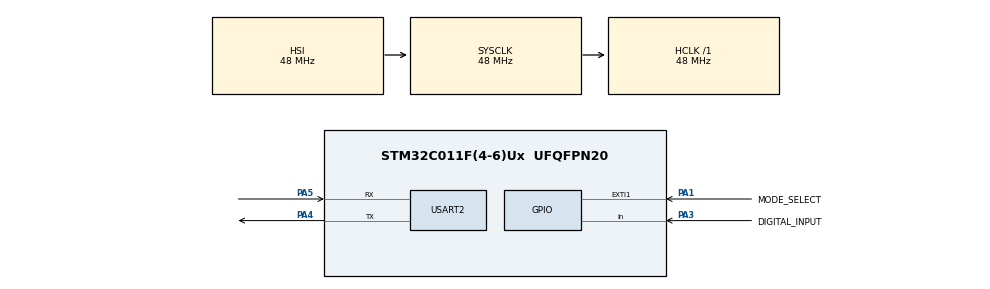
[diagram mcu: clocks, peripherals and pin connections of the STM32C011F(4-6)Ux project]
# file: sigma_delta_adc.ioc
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Mcu.Family=STM32C0
Mcu.Name=STM32C011F(4-6)Ux
Mcu.Package=UFQFPN20
NVIC.EXTI0_1_IRQn=true\:0\:0\:false\:false\:true\:true\:true\:true
NVIC.TIM17_IRQn=true\:0\:0\:false\:false\:true\:true\:true\:true
PA1.GPIO_Label=MODE_SELECT
PA1.GPIO_ModeDefaultEXTI=GPIO_MODE_IT_RISING_FALLING
PA1.GPIO_PuPd=GPIO_PULLDOWN
PA1.Signal=GPXTI1
PA13.Mode=Serial_Wire
PA13.Signal=DEBUG_SWDIO
PA14-BOOT0.Mode=Serial_Wire
PA14-BOOT0.Signal=DEBUG_SWCLK
PA3.GPIO_Label=DIGITAL_INPUT
PA3.Signal=GPIO_Input
PA4.Mode=Asynchronous
PA4.Signal=USART2_TX
PA5.Mode=Asynchronous
PA5.Signal=USART2_RX
ProjectManager.HeapSize=0x200
ProjectManager.StackSize=0x400
ProjectManager.TargetToolchain=STM32CubeIDE
RCC.ADCFreq_Value=48000000
RCC.AHBFreq_Value=48000000
RCC.CortexFreq_Value=48000000
RCC.EXTERNAL_CLOCK_VALUE=12288000
RCC.HCLKFreq_Value=48000000
RCC.HSE_VALUE=8000000
RCC.HSISYSCLKDivider=RCC_HSI_DIV1
RCC.HSI_VALUE=48000000
RCC.LSE_VALUE=32768
RCC.SYSCLKFreq_VALUE=48000000
TIM17.Period=2-1
TIM17.Prescaler=46875-1
USART2.VirtualMode-Asynchronous=VM_ASYNC
VP_TIM17_VS_ClockSourceINT.Mode=Enable_Timer
board=custom

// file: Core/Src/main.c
/* USER CODE BEGIN Header */
/**
SIGMA DELTA ADC project
by Szymon Filipkowski

sigma delta adc code main file

KOD JEST W TRAKCIE PRACY //TODO //TODO //TODO
**/
/**
  ******************************************************************************
  * @file           : main.c
  * @brief          : Main program body
  ******************************************************************************
  * @attention
  *
  * Copyright (c) 2025 STMicroelectronics.
  * All rights reserved.
  *
  * This software is licensed under terms that can be found in the LICENSE file
  * in the root directory of this software component.
  * If no LICENSE file comes with this software, it is provided AS-IS.
  *
  ******************************************************************************
  */
/* USER CODE END Header */
#include "main.h"

/* USER CODE BEGIN PD */
#define true 1
#define false 0
#define HIGH 1
#define LOW 0

//ADC settings
#define MAX_TICKS 255
#define MAGIC_VOLTAGE_MULTIPLIER 1 //high state / low state * MAGIC_VOLTAGE_MULTIPLIER = voltage //TODO maybe proporcja NA PEWNO TO ADJUST / cos innego wymyslic
#define STATIC_VOLTAGE_MULTIPLIER 1 //static, every time used multiplier to multiply voltage by, beacuse of hardware issues
#define VOLTAGE_OFFSET 1  //static, every time used voltage offset to add, beacuse of hardware issues
/* USER CODE END PD */

TIM_HandleTypeDef htim17;

UART_HandleTypeDef huart2;

/* USER CODE BEGIN PV */
uint8_t VOLTAGE = 255; //real voltage = VOLTAGE / 100
/* USER CODE END PV */

void SystemClock_Config(void);
static void MX_GPIO_Init(void);
static void MX_TIM17_Init(void);
static void MX_USART2_UART_Init(void);
/* USER CODE BEGIN PFP */
uint8_t ANALOG_TO_DIGITAL(uint8_t is_it_first);
void SEND_VIA_UART(uint8_t toSend);
void MANUAL_MODE(void);
void EXIT_DEEP_SLEEP_MODE(void);
void SEND_VIA_UART(void);
/* USER CODE END PFP */

int main(void)
{

  /* MCU Configuration--------------------------------------------------------*/

  /* Reset of all peripherals, Initializes the Flash interface and the Systick. */
  HAL_Init();

  /* Configure the system clock */
  SystemClock_Config();

  /* Initialize all configured peripherals */
  MX_GPIO_Init();
  MX_TIM17_Init();
  MX_USART2_UART_Init();
  /* USER CODE BEGIN 2 */
  HAL_TIM_Base_Start_IT(&htim17);
  __HAL_RCC_PWR_CLK_ENABLE(); //TODO TO CHECK IF WORKS STOP MODE // https://www.youtube.com/watch?v=td_CbkFBCfE
  /* USER CODE END 2 */

  /* Infinite loop */
  while (1)
  {

  }
}

void SystemClock_Config(void)
{
  RCC_OscInitTypeDef RCC_OscInitStruct = {0};
  RCC_ClkInitTypeDef RCC_ClkInitStruct = {0};

  __HAL_FLASH_SET_LATENCY(FLASH_LATENCY_1);

  /** Initializes the RCC Oscillators according to the specified parameters
  * in the RCC_OscInitTypeDef structure.
  */
  RCC_OscInitStruct.OscillatorType = RCC_OSCILLATORTYPE_HSI;
  RCC_OscInitStruct.HSIState = RCC_HSI_ON;
  RCC_OscInitStruct.HSIDiv = RCC_HSI_DIV1;
  RCC_OscInitStruct.HSICalibrationValue = RCC_HSICALIBRATION_DEFAULT;
  if (HAL_RCC_OscConfig(&RCC_OscInitStruct) != HAL_OK)
  {
    Error_Handler();
  }

  /** Initializes the CPU, AHB and APB buses clocks
  */
  RCC_ClkInitStruct.ClockType = RCC_CLOCKTYPE_HCLK|RCC_CLOCKTYPE_SYSCLK
                              |RCC_CLOCKTYPE_PCLK1;
  RCC_ClkInitStruct.SYSCLKSource = RCC_SYSCLKSOURCE_HSI;
  RCC_ClkInitStruct.SYSCLKDivider = RCC_SYSCLK_DIV1;
  RCC_ClkInitStruct.AHBCLKDivider = RCC_HCLK_DIV1;
  RCC_ClkInitStruct.APB1CLKDivider = RCC_APB1_DIV1;

  if (HAL_RCC_ClockConfig(&RCC_ClkInitStruct, FLASH_LATENCY_1) != HAL_OK)
  {
    Error_Handler();
  }
}

static void MX_TIM17_Init(void)
{

  htim17.Instance = TIM17;
  htim17.Init.Prescaler = 46875-1;
  htim17.Init.CounterMode = TIM_COUNTERMODE_UP;
  htim17.Init.Period = 2-1;
  htim17.Init.ClockDivision = TIM_CLOCKDIVISION_DIV1;
  htim17.Init.RepetitionCounter = 0;
  htim17.Init.AutoReloadPreload = TIM_AUTORELOAD_PRELOAD_DISABLE;
  if (HAL_TIM_Base_Init(&htim17) != HAL_OK)
  {
    Error_Handler();
  }

}

static void MX_USART2_UART_Init(void)
{

  huart2.Instance = USART2;
  huart2.Init.BaudRate = 115200;
  huart2.Init.WordLength = UART_WORDLENGTH_8B;
  huart2.Init.StopBits = UART_STOPBITS_1;
  huart2.Init.Parity = UART_PARITY_NONE;
  huart2.Init.Mode = UART_MODE_TX_RX;
  huart2.Init.HwFlowCtl = UART_HWCONTROL_NONE;
  huart2.Init.OverSampling = UART_OVERSAMPLING_16;
  huart2.Init.OneBitSampling = UART_ONE_BIT_SAMPLE_DISABLE;
  huart2.Init.ClockPrescaler = UART_PRESCALER_DIV1;
  huart2.AdvancedInit.AdvFeatureInit = UART_ADVFEATURE_NO_INIT;
  if (HAL_UART_Init(&huart2) != HAL_OK)
  {
    Error_Handler();
  }

}

static void MX_GPIO_Init(void)
{
  GPIO_InitTypeDef GPIO_InitStruct = {0};

  /* GPIO Ports Clock Enable */
  __HAL_RCC_GPIOA_CLK_ENABLE();

  /*Configure GPIO pin : MODE_SELECT_Pin */
  GPIO_InitStruct.Pin = MODE_SELECT_Pin;
  GPIO_InitStruct.Mode = GPIO_MODE_IT_RISING_FALLING;
  GPIO_InitStruct.Pull = GPIO_PULLDOWN;
  HAL_GPIO_Init(MODE_SELECT_GPIO_Port, &GPIO_InitStruct);

  /*Configure GPIO pin : DIGITAL_INPUT_Pin */
  GPIO_InitStruct.Pin = DIGITAL_INPUT_Pin;
  GPIO_InitStruct.Mode = GPIO_MODE_INPUT;
  GPIO_InitStruct.Pull = GPIO_NOPULL;
  HAL_GPIO_Init(DIGITAL_INPUT_GPIO_Port, &GPIO_InitStruct);

  /* EXTI interrupt init*/
  HAL_NVIC_SetPriority(EXTI0_1_IRQn, 0, 0);
  HAL_NVIC_EnableIRQ(EXTI0_1_IRQn);

}

/* USER CODE BEGIN 4 */
//====================================================================================================================================================================
//====================================================================================================================================================================
//====================================================================================================================================================================
/*	//TODO things
 * try to do digital read on EXTI???
deep sleep/light sleep cpu?
err show in console via uart?

//OTHER INFO

*/
uint8_t ANALOG_TO_DIGITAL(uint8_t is_it_first) //conversion from sigma delta hardware output to digital data
{
	static uint8_t was_high = false; //have i already been at the top of the func?
	static uint8_t data = 0; //current state of function
	static uint16_t ticks_high=0; //how many tick was i on high state
	static uint16_t ticks_low=0; //how many tick was i on low state
	static uint16_t ticks=0;

	if(is_it_first == true)
	{
		was_high = false; //have i already been at the top of the func?
		data = 0; //current state of function
		ticks_high=0; //how many tick was i on high state
		ticks_low=0; //how many tick was i on low state
		ticks=0;
	}

	data = HAL_GPIO_ReadPin(DIGITAL_INPUT_GPIO_Port, DIGITAL_INPUT_Pin);

	ticks = ticks + 1;

	if((was_high == true && data == HIGH) || ticks >= MAX_TICKS) //back on high
	{
		if(ticks_high >= MAX_TICKS) VOLTAGE = 255;
		else if(ticks_low >= MAX_TICKS) VOLTAGE = 0;
		else VOLTAGE = ticks_high / ticks_low * MAGIC_VOLTAGE_MULTIPLIER;

		VOLTAGE = VOLTAGE * STATIC_VOLTAGE_MULTIPLIER + VOLTAGE_OFFSET; //final voltage calculation

		//for new run
		ticks = 1;
		ticks_high = 1;
		ticks_low = 0;
		ticks = 1;
		was_high=false;
		return 1; //voltage analysis done
	}
	else if(data == HIGH) //first high
	{
		ticks_high = ticks_high + 1;
	}
	else //func went down
	{
		ticks_low = ticks_low + 1;
		was_high = true;
	}

	return 0; //nothing
}

void SEND_VIA_UART() //TODO //TODO //TODO
{

}

void MANUAL_MODE()
{
	HAL_TIM_Base_Stop_IT(&htim17); //stops auto mode

	ANALOG_TO_DIGITAL(true); //resets local vars from, auto mode
	while(ANALOG_TO_DIGITAL(false) == 0); //do until done, one full check

	//STOP MODE of mcu
	HAL_SuspendTick();
	HAL_PWR_EnterSTOPMode(PWR_MAINREGULATOR_ON, PWR_STOPENTRY_WFI); //TODO low power regulator?
}

void EXIT_DEEP_SLEEP_MODE()
{
	HAL_ResumeTick();
	SystemClock_Config();
	HAL_TIM_Base_Start_IT(&htim17); //resums auto mode
}

//=======================================================INTERRUPTS===================================================================

void HAL_GPIO_EXTI_Rising_Callback(uint16_t GPIO_Pin) //MODE pin was shorted with 3.3 => we are into manual mode
{
    if(GPIO_Pin == MODE_SELECT_Pin)
    {
    	MANUAL_MODE();
    }
}

void HAL_GPIO_EXTI_Falling_Callback(uint16_t GPIO_Pin) //MODE pin got release => we are going into auto mode
{
    if(GPIO_Pin == MODE_SELECT_Pin)
    {
    	EXIT_DEEP_SLEEP_MODE();
    }
}

void HAL_TIM_PeriodElapsedCallback(TIM_HandleTypeDef *htim) //time based interrupts
{
	  if(htim->Instance == TIM17) //execute every something of time
	  {
		  ANALOG_TO_DIGITAL(false);
	  }
}

//====================================================================================================================================================================
//====================================================================================================================================================================
//====================================================================================================================================================================
/* USER CODE END 4 */

void Error_Handler(void)
{
  /* USER CODE BEGIN Error_Handler_Debug */
																																//TODO user output of error in uart?

  /* User can add his own implementation to report the HAL error return state */
  __disable_irq();
  while (1)
  {
  }
  /* USER CODE END Error_Handler_Debug */
}
